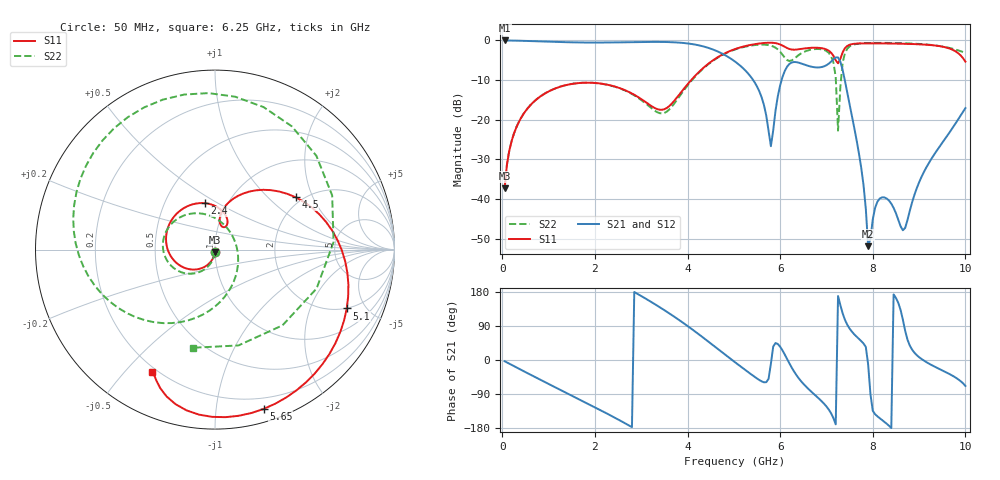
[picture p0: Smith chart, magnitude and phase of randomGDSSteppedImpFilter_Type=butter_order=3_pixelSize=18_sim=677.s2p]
! freq	dB(S11)	phase(S11)	dB(S12)	phase(S12)
!  dB(S21)	phase(S21)	dB(S22)	phase(S22)
!S-par simulation data
#  GHz  S  DB  R 50
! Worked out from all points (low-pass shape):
!   200 points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, 50 MHz to 10 GHz, reference 50 ohm
!   highest |S21| = -0.01 dB at 50 MHz (marker M1); lowest = -51.9 dB at 7.9 GHz (marker M2)
!   |S21| within 3 dB of the highest: start of sweep to 4.692 GHz
!   lowest |S11| = -37.4 dB at 50 MHz (marker M3), VSWR 1.03, Z = 49.9 - j1.35 ohm
!   |S11| at or under -10 dB: start of sweep to 4.079 GHz
!   |S22| runs from -37.3 to -0.6 dB; largest |S21 - S12| = 0
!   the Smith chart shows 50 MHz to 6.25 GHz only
!   S11 on the Smith chart (normalised r, x): 50 MHz: 1.00, -0.03; 2.4 GHz: 0.78, +0.44; 4.5 GHz: 1.83, +1.50; 5.1 GHz: 1.98, -3.68; 5.65 GHz: 0.10, -1.34; 6.25 GHz: 0.18, -0.60
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0.05  -37.36 -92.9  -0.01 -3.3  -0.01 -3.3  -37.35 -92.2
0.5  -17.85 -125.9  -0.12 -31.9  -0.12 -31.9  -17.84 -118.9
1.75  -10.68 147.2  -0.52 -109.3  -0.52 -109.3  -10.68 173.1
2.4  -11.54 102.5  -0.51 -150.4  -0.51 -150.4  -11.57 136.4
3.4  -17.49 69.2  -0.37 139.3  -0.37 139.3  -18.36 29.0
4.5  -5.43 33.0  -2.08 43.8  -2.08 43.8  -5.54 -130.0
5.05  -2.08 -19.4  -5.54 -8.2  -5.54 -8.2  -2.19 177.5
5.1  -1.90 -24.1  -6.00 -12.8  -6.00 -12.8  -2.01 172.6
5.65  -0.65 -73.1  -16.29 -58.8  -16.29 -58.8  -1.06 109.3
5.8  -0.58 -86.4  -26.70 -9.8  -26.70 -9.8  -1.32 82.5
6  -1.02 -104.3  -11.32 35.0  -11.32 35.0  -2.86 24.8
6.25  -2.30 -117.0  -5.57 -20.1  -5.57 -20.1  -5.04 -102.4
6.7  -1.84 -138.5  -6.69 -86.7  -6.69 -86.7  -2.26 141.2
7.15  -3.89 -169.0  -4.77 -153.3  -4.77 -153.3  -5.57 67.2
7.25  -5.77 -158.4  -4.30 168.8  -4.30 168.8  -22.75 46.3
7.3  -4.66 -148.4  -5.35 144.9  -5.35 144.9  -11.75 177.0
7.55  -0.93 -169.8  -19.09 74.7  -19.09 74.7  -1.20 110.5
7.9  -0.73 164.3  -51.93 -11.7  -51.93 -11.7  -0.66 74.9
8.35  -0.77 135.8  -40.42 -173.5  -40.42 -173.5  -0.63 42.7
8.65  -0.84 116.7  -47.92 106.3  -47.92 106.3  -0.70 22.4
9.3  -1.23 70.2  -29.26 -15.3  -29.26 -15.3  -1.18 -26.6
10  -5.35 -20.1  -17.09 -68.5  -17.09 -68.5  -3.13 -111.4
